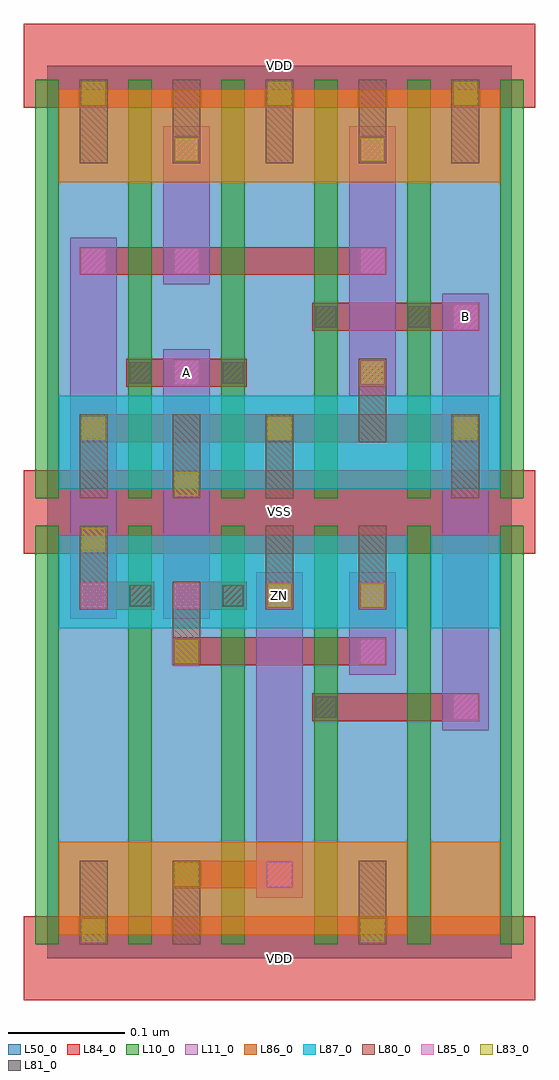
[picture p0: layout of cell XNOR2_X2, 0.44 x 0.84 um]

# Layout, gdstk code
import gdstk
lib = gdstk.Library(unit=1e-6, precision=1e-09)
def R(c, l, rs):  # rectangles x0, y0, x1, y1
    for r in rs: c.add(gdstk.rectangle(r[:2], r[2:], *l))
def A(c, l, x, y, w, h, nx, ny, dx, dy):  # array of equal rectangles
    R(c, l, [(x+i*dx, y+j*dy, x+i*dx+w, y+j*dy+h) for i in range(nx) for j in range(ny)])
L10_0 = (10, 0)
L11_0 = (11, 0)
L50_0 = (50, 0)
L80_0 = (80, 0)
L81_0 = (81, 0)
L83_0 = (83, 0)
L84_0 = (84, 0)
L85_0 = (85, 0)
L86_0 = (86, 0)
L87_0 = (87, 0)

xnor2_x2 = lib.new_cell('XNOR2_X2')
A(xnor2_x2, L10_0, -0.01, 0.012, 0.02, 0.36, 6, 2, 0.08, 0.384)
R(xnor2_x2, L11_0, [(0.18,0.052,0.22,0.332), (0.34,0.196,0.38,0.572), (0.26,0.244,0.3,0.332), (0.02,0.292,0.06,0.62), (0.1,0.292,0.14,0.524), (0.26,0.484,0.3,0.716), (0.1,0.58,0.14,0.716)])
R(xnor2_x2, L50_0, [(0,0,0.4,0.768)])
A(xnor2_x2, L80_0, 0.028, 0.396, 0.024, 0.072, 3, 1, 0.08, 0)
A(xnor2_x2, L80_0, 0.028, 0.684, 0.024, 0.072, 5, 1, 0.08, 0)
R(xnor2_x2, L80_0, [(0.028,0.012,0.052,0.084), (0.108,0.012,0.132,0.084), (0.268,0.012,0.292,0.084), (0.108,0.252,0.132,0.324), (0.028,0.3,0.052,0.372), (0.188,0.3,0.212,0.372), (0.268,0.3,0.292,0.372), (0.348,0.396,0.372,0.468), (0.268,0.444,0.292,0.516)])
R(xnor2_x2, L81_0, [(0.231,0.207,0.249,0.225), (0.071,0.303,0.089,0.321), (0.151,0.303,0.169,0.321), (0.071,0.495,0.089,0.513), (0.151,0.495,0.169,0.513), (0.231,0.543,0.249,0.561), (0.311,0.543,0.329,0.561)])
A(xnor2_x2, L83_0, 0.27, 0.302, 0.02, 0.02, 1, 3, 0, 0.192)
A(xnor2_x2, L83_0, 0.03, 0.446, 0.02, 0.02, 3, 2, 0.16, 0.288)
R(xnor2_x2, L83_0, [(0.03,0.014,0.05,0.034), (0.27,0.014,0.29,0.034), (0.11,0.062,0.13,0.082), (0.11,0.254,0.13,0.274), (0.19,0.302,0.21,0.322), (0.03,0.35,0.05,0.37), (0.11,0.398,0.13,0.418), (0.11,0.686,0.13,0.706)])
A(xnor2_x2, L84_0, -0.02, -0.036, 0.44, 0.072, 1, 3, 0, 0.384)
A(xnor2_x2, L84_0, 0.268, 0.3, 0.024, 0.024, 1, 3, 0, 0.192)
R(xnor2_x2, L84_0, [(0.108,0.06,0.212,0.084), (0.228,0.204,0.372,0.228), (0.108,0.252,0.292,0.276), (0.028,0.3,0.092,0.324), (0.108,0.3,0.172,0.324), (0.188,0.3,0.212,0.324), (0.028,0.444,0.372,0.468), (0.068,0.492,0.172,0.516), (0.228,0.54,0.372,0.564), (0.028,0.588,0.292,0.612), (0.108,0.684,0.132,0.708)])
A(xnor2_x2, L85_0, 0.029, 0.301, 0.022, 0.022, 4, 1, 0.08, 0)
A(xnor2_x2, L85_0, 0.109, 0.493, 0.022, 0.022, 1, 3, 0, 0.096)
A(xnor2_x2, L85_0, 0.269, 0.493, 0.022, 0.022, 1, 3, 0, 0.096)
R(xnor2_x2, L85_0, [(0.189,0.061,0.211,0.083), (0.349,0.205,0.371,0.227), (0.269,0.253,0.291,0.275), (0.349,0.541,0.371,0.563), (0.029,0.589,0.051,0.611)])
R(xnor2_x2, L86_0, [(0.01,0.02,0.31,0.1), (0.33,0.02,0.39,0.1), (0.01,0.668,0.39,0.748)])
R(xnor2_x2, L87_0, [(0.01,0.284,0.31,0.364), (0.33,0.284,0.39,0.364), (0.01,0.404,0.39,0.484)])
xnor2_x2.add(gdstk.Label('VDD', (0.2,0.768), layer=88, texttype=0))
xnor2_x2.add(gdstk.Label('VDD', (0.2,0), layer=88, texttype=0))
xnor2_x2.add(gdstk.Label('VSS', (0.2,0.384), layer=88, texttype=0))
xnor2_x2.add(gdstk.Label('A', (0.12,0.504), layer=31, texttype=0))
xnor2_x2.add(gdstk.Label('ZN', (0.2,0.312), layer=31, texttype=0))
xnor2_x2.add(gdstk.Label('B', (0.36,0.552), layer=31, texttype=0))

lib.write_gds('XNOR2_X2.gds')
